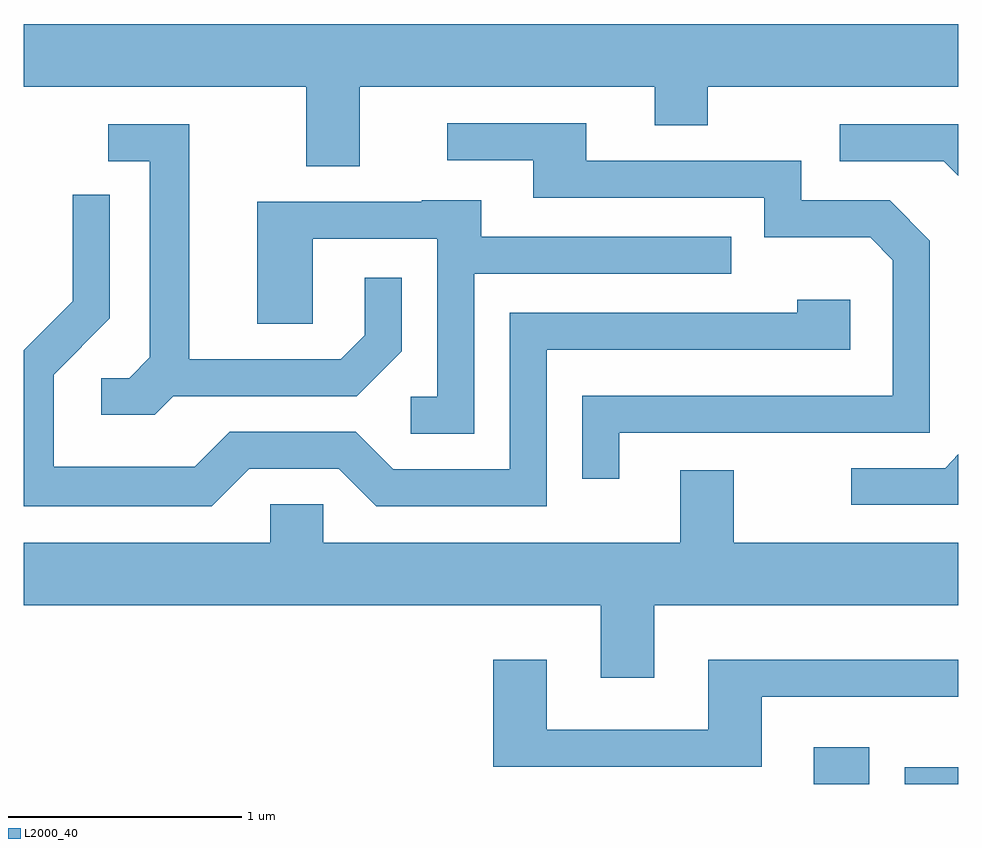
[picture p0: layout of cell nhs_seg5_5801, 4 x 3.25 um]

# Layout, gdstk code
import gdstk
lib = gdstk.Library(unit=1e-6, precision=1e-09)
def R(c, l, rs):  # rectangles x0, y0, x1, y1
    for r in rs: c.add(gdstk.rectangle(r[:2], r[2:], *l))
def P(c, l, *ps):  # polygons
    for p in ps: c.add(gdstk.Polygon(p, *l))
L2000_40 = (2000, 40)

nhs_seg5_5801 = lib.new_cell('nhs_seg5_5801')
R(nhs_seg5_5801, L2000_40, [(360.993,1416.072,361.229,1416.229), (361.381,1416.072,361.611,1416.144)])
P(nhs_seg5_5801, L2000_40, [(359.049,1419.056),(360.311,1419.056),(360.311,1418.891),(360.539,1418.891),(360.539,1419.056),(361.611,1419.056),(361.611,1419.324),(357.611,1419.324),(357.611,1419.056),(358.821,1419.056),(358.821,1418.716),(359.049,1418.716)],
  [(360.159,1417.576),(361.489,1417.576),(361.489,1418.397),(361.317,1418.569),(360.939,1418.569),(360.939,1418.739),(360.019,1418.739),(360.019,1418.899),(359.423,1418.899),(359.423,1418.741),(359.791,1418.741),(359.791,1418.581),(360.781,1418.581),(360.781,1418.411),(361.234,1418.411),(361.331,1418.314),(361.331,1417.734),(360.001,1417.734),(360.001,1417.378),(360.159,1417.378)],
  [(358.252,1417.731),(359.037,1417.731),(359.229,1417.924),(359.229,1418.238),(359.071,1418.238),(359.071,1417.992),(358.969,1417.889),(358.319,1417.889),(358.319,1418.894),(357.973,1418.894),(357.973,1418.736),(358.151,1418.736),(358.151,1417.897),(358.064,1417.809),(357.943,1417.809),(357.943,1417.651),(358.172,1417.651)],
  [(361.611,1418.894),(361.103,1418.894),(361.103,1418.736),(361.549,1418.736),(361.611,1418.674)],
  [(358.577,1417.421),(358.959,1417.421),(359.119,1417.261),(359.849,1417.261),(359.849,1417.931),(361.149,1417.931),(361.149,1418.144),(360.921,1418.144),(360.921,1418.089),(359.691,1418.089),(359.691,1417.419),(359.192,1417.419),(359.032,1417.579),(358.494,1417.579),(358.344,1417.429),(357.739,1417.429),(357.739,1417.824),(357.979,1418.064),(357.979,1418.593),(357.821,1418.593),(357.821,1418.137),(357.611,1417.927),(357.611,1417.261),(358.417,1417.261)],
  [(359.539,1418.256),(360.638,1418.256),(360.638,1418.414),(359.569,1418.414),(359.569,1418.569),(359.315,1418.569),(359.315,1418.564),(358.611,1418.564),(358.611,1418.041),(358.849,1418.041),(358.849,1418.406),(359.381,1418.406),(359.381,1417.729),(359.268,1417.729),(359.268,1417.571),(359.539,1417.571)],
  [(361.611,1417.482),(361.554,1417.424),(361.153,1417.424),(361.153,1417.266),(361.611,1417.266)],
  [(360.309,1416.836),(361.611,1416.836),(361.611,1417.104),(360.649,1417.104),(360.649,1417.414),(360.421,1417.414),(360.421,1417.104),(358.894,1417.104),(358.894,1417.269),(358.666,1417.269),(358.666,1417.104),(357.611,1417.104),(357.611,1416.836),(360.081,1416.836),(360.081,1416.526),(360.309,1416.526)],
  [(360.769,1416.446),(361.611,1416.446),(361.611,1416.604),(360.541,1416.604),(360.541,1416.304),(359.849,1416.304),(359.849,1416.604),(359.621,1416.604),(359.621,1416.146),(360.769,1416.146)])

lib.write_gds('nhs_seg5_5801.gds')
